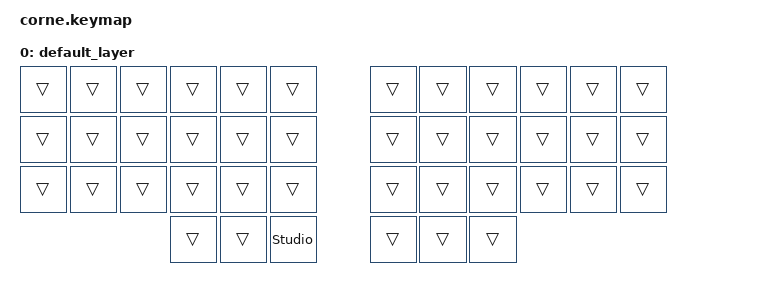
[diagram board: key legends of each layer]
/*
 * Copyright 2024 Michał Minarowski (@n3oney)
 * 
 * Originally created for QMK by Mark Stosberg (@markstos)
 * 
 * SPDX-License-Identifier: GPL-2.0-or-later
 */

#include <behaviors.dtsi>

/ {
    combos { compatible = "zmk,combos"; };

    keymap {
        compatible = "zmk,keymap";

        default_layer {
            bindings = <
&trans  &trans  &trans  &trans  &trans  &trans            &trans  &trans  &trans  &trans  &trans  &trans
&trans  &trans  &trans  &trans  &trans  &trans            &trans  &trans  &trans  &trans  &trans  &trans
&trans  &trans  &trans  &trans  &trans  &trans            &trans  &trans  &trans  &trans  &trans  &trans
                        &trans  &trans  &studio_unlock    &trans  &trans  &trans
            >;
        };
    };
};
